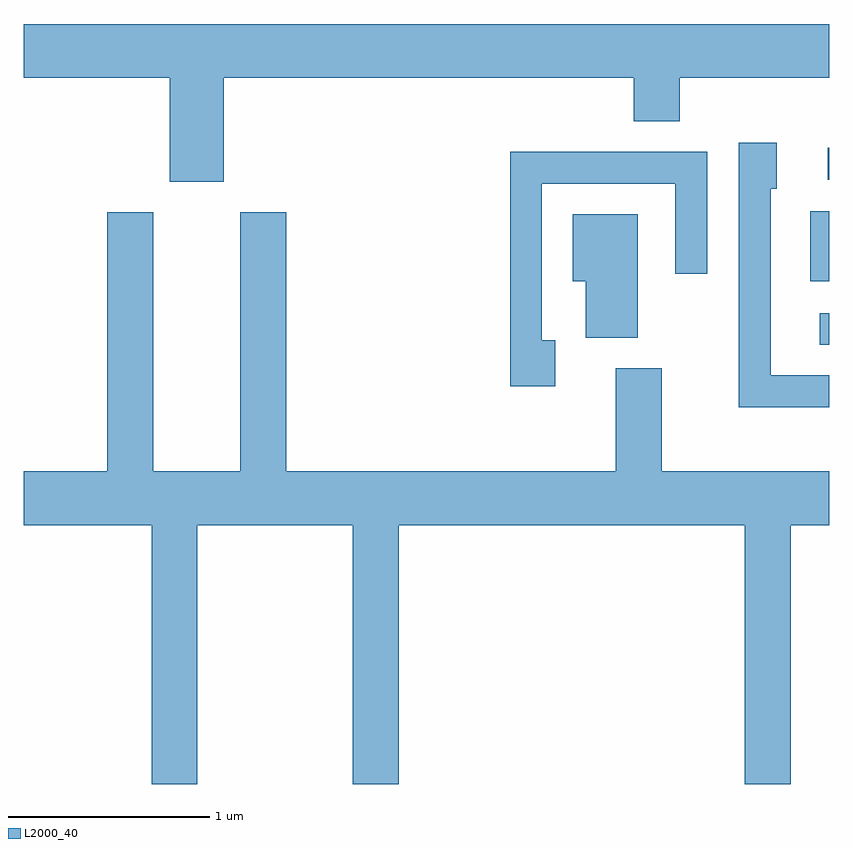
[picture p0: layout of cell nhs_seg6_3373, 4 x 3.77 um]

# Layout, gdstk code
import gdstk
lib = gdstk.Library(unit=1e-6, precision=1e-09)
def R(c, l, rs):  # rectangles x0, y0, x1, y1
    for r in rs: c.add(gdstk.rectangle(r[:2], r[2:], *l))
def P(c, l, *ps):  # polygons
    for p in ps: c.add(gdstk.Polygon(p, *l))
L2000_40 = (2000, 40)

nhs_seg6_3373 = lib.new_cell('nhs_seg6_3373')
R(nhs_seg6_3373, L2000_40, [(291.563,1546.491,291.611,1546.649), (291.516,1546.806,291.611,1547.154), (291.603,1547.311,291.611,1547.469)])
P(nhs_seg6_3373, L2000_40, [(288.604,1547.816),(290.641,1547.816),(290.641,1547.601),(290.869,1547.601),(290.869,1547.816),(291.611,1547.816),(291.611,1548.084),(287.611,1548.084),(287.611,1547.816),(288.336,1547.816),(288.336,1547.301),(288.604,1547.301)],
  [(291.611,1546.339),(291.319,1546.339),(291.319,1547.266),(291.349,1547.266),(291.349,1547.494),(291.161,1547.494),(291.161,1546.181),(291.611,1546.181)],
  [(290.249,1546.514),(290.184,1546.514),(290.184,1547.291),(290.846,1547.291),(290.846,1546.843),(291.004,1546.843),(291.004,1547.449),(290.026,1547.449),(290.026,1546.286),(290.249,1546.286)],
  [(289.246,1544.311),(289.474,1544.311),(289.474,1545.596),(291.191,1545.596),(291.191,1544.311),(291.419,1544.311),(291.419,1545.596),(291.611,1545.596),(291.611,1545.864),(290.779,1545.864),(290.779,1546.374),(290.551,1546.374),(290.551,1545.864),(288.914,1545.864),(288.914,1547.149),(288.686,1547.149),(288.686,1545.864),(288.254,1545.864),(288.254,1547.149),(288.026,1547.149),(288.026,1545.864),(287.611,1545.864),(287.611,1545.596),(288.246,1545.596),(288.246,1544.311),(288.474,1544.311),(288.474,1545.596),(289.246,1545.596)],
  [(290.659,1547.139),(290.336,1547.139),(290.336,1546.806),(290.401,1546.806),(290.401,1546.526),(290.659,1546.526)])

lib.write_gds('nhs_seg6_3373.gds')
